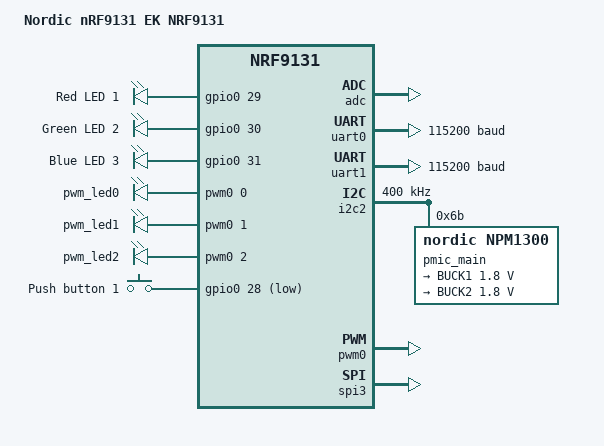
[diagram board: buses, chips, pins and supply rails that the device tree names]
/*
 * Copyright (c) 2023 Nordic Semiconductor ASA
 *
 * SPDX-License-Identifier: Apache-2.0
 */
#include "nrf9131ek_nrf9131_common-pinctrl.dtsi"
#include <zephyr/dt-bindings/input/input-event-codes.h>

/ {
	model = "Nordic nRF9131 EK NRF9131";
	compatible = "nordic,nrf9131-ek-nrf9131";

	chosen {
		zephyr,console = &uart0;
		zephyr,shell-uart = &uart0;
		zephyr,uart-mcumgr = &uart0;
	};

	leds {
		compatible = "gpio-leds";

		led0: led_0 {
			gpios = <&gpio0 29 GPIO_ACTIVE_HIGH>;
			label = "Red LED 1";
		};

		led1: led_1 {
			gpios = <&gpio0 30 GPIO_ACTIVE_HIGH>;
			label = "Green LED 2";
		};

		led2: led_2 {
			gpios = <&gpio0 31 GPIO_ACTIVE_HIGH>;
			label = "Blue LED 3";
		};
	};

	pwmleds {
		compatible = "pwm-leds";

		pwm_led0: pwm_led_0 {
			pwms = <&pwm0 0 PWM_MSEC(8) PWM_POLARITY_NORMAL>;
		};

		pwm_led1: pwm_led_1 {
			pwms = <&pwm0 1 PWM_MSEC(8) PWM_POLARITY_NORMAL>;
		};

		pwm_led2: pwm_led_2 {
			pwms = <&pwm0 2 PWM_MSEC(8) PWM_POLARITY_NORMAL>;
		};
	};

	buttons {
		compatible = "gpio-keys";

		button0: button_0 {
			gpios = <&gpio0 28 (GPIO_PULL_UP | GPIO_ACTIVE_LOW)>;
			label = "Push button 1";
			zephyr,code = <INPUT_KEY_0>;
		};
	};

	/* These aliases are provided for compatibility with samples */
	aliases {
		led0 = &led0;
		led1 = &led1;
		led2 = &led2;
		pwm-led0 = &pwm_led0;
		pwm-led1 = &pwm_led1;
		pwm-led2 = &pwm_led2;
		sw0 = &button0;
		mcuboot-button0 = &button0;
		mcuboot-led0 = &led0;
		watchdog0 = &wdt0;
	};
};

&adc {
	status = "okay";
};

&gpiote {
	status = "okay";
};

&gpio0 {
	status = "okay";
};

&uart0 {
	status = "okay";
	current-speed = <115200>;
	pinctrl-0 = <&uart0_default>;
	pinctrl-1 = <&uart0_sleep>;
	pinctrl-names = "default", "sleep";
};

&uart1 {
	status = "okay";
	current-speed = <115200>;
	pinctrl-0 = <&uart1_default>;
	pinctrl-1 = <&uart1_sleep>;
	pinctrl-names = "default", "sleep";
};

&i2c2 {
	compatible = "nordic,nrf-twim";
	status = "okay";
	pinctrl-0 = <&i2c2_default>;
	pinctrl-1 = <&i2c2_sleep>;
	pinctrl-names = "default", "sleep";
	clock-frequency = <I2C_BITRATE_FAST>;

	pmic_main: npm1300@6b {
		compatible = "nordic,npm1300";
		reg = <0x6b>;

		pmic_charger: charger {
			compatible = "nordic,npm1300-charger";
			term-microvolt = <4150000>;
			term-warm-microvolt = <4000000>;
			current-microamp = <150000>;
			dischg-limit-microamp = <1000000>;
			vbus-limit-microamp = <500000>;
			thermistor-ohms = <10000>;
			thermistor-beta = <3380>;
			charging-enable;
		};

		regulators {
			compatible = "nordic,npm1300-regulator";

			BUCK1 {
				regulator-min-microvolt = <1800000>;
				regulator-max-microvolt = <1800000>;
				regulator-boot-on;
			};

			BUCK2 {
				regulator-min-microvolt = <1800000>;
				regulator-max-microvolt = <1800000>;
				regulator-boot-on;
			};
		};
	};
};

&pwm0 {
	status = "okay";
	pinctrl-0 = <&pwm0_default>;
	pinctrl-1 = <&pwm0_sleep>;
	pinctrl-names = "default", "sleep";
};

&spi3 {
	compatible = "nordic,nrf-spim";
	status = "okay";
	cs-gpios = <&gpio0 26 GPIO_ACTIVE_LOW>;
	pinctrl-0 = <&spi3_default>;
	pinctrl-1 = <&spi3_sleep>;
	pinctrl-names = "default", "sleep";

	gd25wb256: gd25wb256e3ir@0 {
		compatible = "jedec,spi-nor";
		status = "disabled";
		reg = <0>;
		spi-max-frequency = <8000000>;
		size = <268435456>;
		has-dpd;
		t-enter-dpd = <3000>;
		t-exit-dpd = <40000>;
		sfdp-bfp = [e5 20 f3 ff ff ff ff 0f 44 eb 08 6b 08 3b 42 bb
			    ee ff ff ff ff ff 00 ff ff ff 00 ff 0c 20 0f 52
			    10 d8 00 ff 44 7a c9 fe 83 67 26 62 ec 82 18 44
			    7a 75 7a 75 04 c4 d5 5c 00 06 74 00 08 50 00 01];
		jedec-id = [c8 65 19];
	};
};

/* Include default memory partition configuration file */
#include <nordic/nrf91xx_partition.dtsi>
